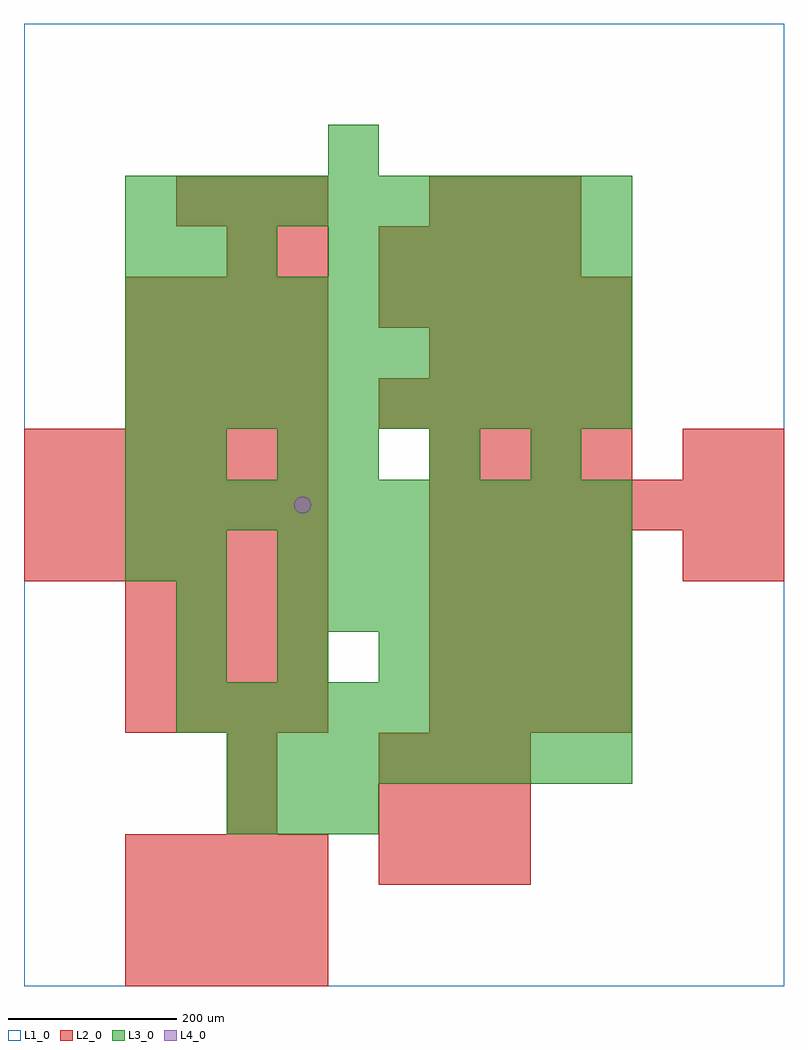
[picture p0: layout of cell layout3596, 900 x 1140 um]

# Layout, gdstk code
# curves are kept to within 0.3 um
import gdstk
lib = gdstk.Library(unit=1e-6, precision=1e-09)
def R(c, l, rs):  # rectangles x0, y0, x1, y1
    for r in rs: c.add(gdstk.rectangle(r[:2], r[2:], *l))
def A(c, l, x, y, w, h, nx, ny, dx, dy):  # array of equal rectangles
    R(c, l, [(x+i*dx, y+j*dy, x+i*dx+w, y+j*dy+h) for i in range(nx) for j in range(ny)])
def P(c, l, *ps):  # polygons
    for p in ps: c.add(gdstk.Polygon(p, *l))
L1_0 = (1, 0)
L2_0 = (2, 0)
L3_0 = (3, 0)
L4_0 = (4, 0)

layout3596 = lib.new_cell('layout3596')
R(layout3596, L1_0, [(0,0,900,1140)])
A(layout3596, L2_0, 120, 0, 60, 60, 4, 3, 60, 60)
A(layout3596, L2_0, 420, 120, 60, 60, 3, 3, 60, 60)
A(layout3596, L2_0, 120, 300, 60, 60, 4, 3, 60, 60)
A(layout3596, L2_0, 480, 300, 60, 60, 4, 4, 60, 60)
A(layout3596, L2_0, 0, 480, 60, 60, 6, 3, 60, 60)
A(layout3596, L2_0, 480, 540, 60, 60, 7, 1, 60, 0)
A(layout3596, L2_0, 480, 600, 60, 60, 4, 2, 60, 120)
A(layout3596, L2_0, 120, 660, 60, 60, 4, 3, 60, 60)
A(layout3596, L2_0, 420, 660, 60, 60, 5, 2, 60, 120)
A(layout3596, L2_0, 420, 840, 60, 60, 4, 1, 60, 0)
A(layout3596, L2_0, 180, 900, 60, 60, 3, 1, 60, 0)
A(layout3596, L2_0, 480, 900, 60, 60, 3, 1, 60, 0)
R(layout3596, L2_0, [(240,180,300,240), (240,240,300,300), (780,480,840,540), (840,480,900,540), (780,600,840,660), (840,600,900,660), (240,840,300,900), (300,840,360,900)])
A(layout3596, L3_0, 240, 180, 60, 60, 3, 1, 60, 0)
A(layout3596, L3_0, 240, 240, 60, 60, 8, 1, 60, 0)
A(layout3596, L3_0, 180, 300, 60, 60, 9, 1, 60, 0)
A(layout3596, L3_0, 180, 360, 60, 60, 3, 1, 120, 0)
A(layout3596, L3_0, 480, 360, 60, 60, 4, 1, 60, 0)
A(layout3596, L3_0, 300, 420, 60, 60, 7, 2, 60, 60)
A(layout3596, L3_0, 120, 540, 60, 60, 10, 2, 60, 120)
A(layout3596, L3_0, 360, 600, 60, 60, 3, 1, 120, 0)
A(layout3596, L3_0, 120, 720, 60, 60, 10, 2, 60, 60)
A(layout3596, L3_0, 120, 840, 60, 60, 3, 1, 60, 0)
A(layout3596, L3_0, 360, 840, 60, 60, 6, 1, 60, 0)
A(layout3596, L3_0, 120, 900, 60, 60, 10, 1, 60, 0)
R(layout3596, L3_0, [(180,420,240,480), (120,480,180,540), (180,480,240,540), (120,600,180,660), (180,600,240,660), (300,600,360,660), (360,960,420,1020)])
P(layout3596, L4_0, [(340,570),(339.239,573.827),(337.071,577.071),(333.827,579.239),(330,580),(326.173,579.239),(322.929,577.071),(320.761,573.827),(320,570),(320.761,566.173),(322.929,562.929),(326.173,560.761),(330,560),(333.827,560.761),(337.071,562.929),(339.239,566.173)])

lib.write_gds('layout3596.gds')
